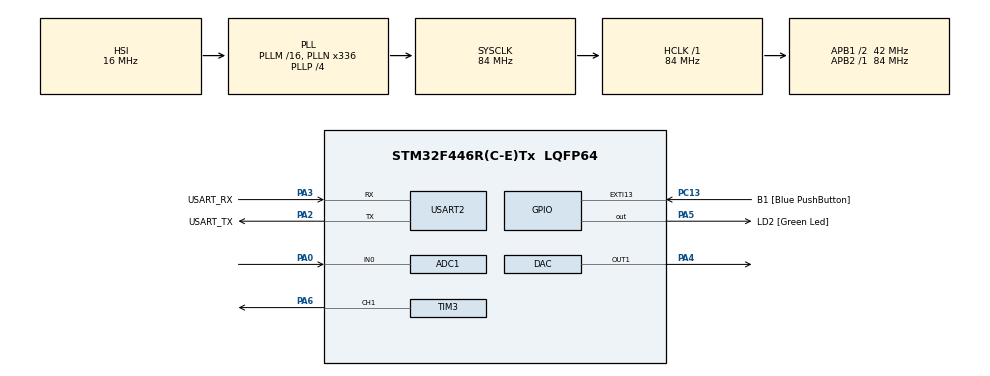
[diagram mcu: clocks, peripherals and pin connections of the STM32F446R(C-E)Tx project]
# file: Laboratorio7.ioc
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ADC1.Channel-0\#ChannelRegularConversion=ADC_CHANNEL_0
ADC1.NbrOfConversion=1
ADC1.NbrOfConversionFlag=1
ADC1.Rank-0\#ChannelRegularConversion=1
ADC1.SamplingTime-0\#ChannelRegularConversion=ADC_SAMPLETIME_3CYCLES
ADC1.master=1
Mcu.Family=STM32F4
Mcu.Name=STM32F446R(C-E)Tx
Mcu.Package=LQFP64
NVIC.PriorityGroup=NVIC_PRIORITYGROUP_0
NVIC.TIM6_DAC_IRQn=true\:0\:0\:false\:false\:true\:true\:true\:true
PA0-WKUP.Signal=ADCx_IN0
PA13.GPIO_Label=TMS
PA13.Signal=SYS_JTMS-SWDIO
PA14.GPIO_Label=TCK
PA14.Signal=SYS_JTCK-SWCLK
PA2.GPIO_Label=USART_TX
PA2.Mode=Asynchronous
PA2.Signal=USART2_TX
PA3.GPIO_Label=USART_RX
PA3.Mode=Asynchronous
PA3.Signal=USART2_RX
PA4.Signal=COMP_DAC1_group
PA5.GPIO_Label=LD2 [Green Led]
PA5.Signal=GPIO_Output
PA6.Signal=S_TIM3_CH1
PB3.GPIO_Label=SWO
PB3.Signal=SYS_JTDO-SWO
PC13.GPIO_Label=B1 [Blue PushButton]
PC13.GPIO_ModeDefaultEXTI=GPIO_MODE_IT_FALLING
PC13.Signal=GPXTI13
PC14-OSC32_IN.Signal=RCC_OSC32_IN
PC15-OSC32_OUT.Signal=RCC_OSC32_OUT
PH0-OSC_IN.Signal=RCC_OSC_IN
PH1-OSC_OUT.Signal=RCC_OSC_OUT
ProjectManager.HeapSize=0x200
ProjectManager.StackSize=0x400
ProjectManager.TargetToolchain=STM32CubeIDE
RCC.AHBFreq_Value=84000000
RCC.APB1CLKDivider=RCC_HCLK_DIV2
RCC.APB1Freq_Value=42000000
RCC.APB1TimFreq_Value=84000000
RCC.APB2Freq_Value=84000000
RCC.APB2TimFreq_Value=84000000
RCC.CortexFreq_Value=84000000
RCC.FLatency-AdvancedSettings=FLASH_LATENCY_2
RCC.HCLKFreq_Value=84000000
RCC.HSE_VALUE=8000000
RCC.HSI_VALUE=16000000
RCC.LSE_VALUE=32768
RCC.PLLN=336
RCC.PLLP=RCC_PLLP_DIV4
RCC.SYSCLKFreq_VALUE=84000000
RCC.SYSCLKSource=RCC_SYSCLKSOURCE_PLLCLK
RCC.USBFreq_Value=168000000
RCC.VCOOutputFreq_Value=336000000
SH.ADCx_IN0.0=ADC1_IN0,IN0
SH.COMP_DAC1_group.0=DAC_OUT1,DAC_OUT1
SH.S_TIM3_CH1.0=TIM3_CH1,PWM Generation1 CH1
TIM3.Channel-PWM\ Generation1\ CH1=TIM_CHANNEL_1
TIM3.Period=255
TIM3.Prescaler=9
TIM3.Pulse-PWM\ Generation1\ CH1=128
TIM6.Period=124
TIM6.Prescaler=83
TIM6.TIM_MasterOutputTrigger=TIM_TRGO_UPDATE
USART2.VirtualMode=VM_ASYNC
VP_TIM6_VS_ClockSourceINT.Mode=Enable_Timer
board=NUCLEO-F446RE

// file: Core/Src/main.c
/* USER CODE BEGIN Header */
/**
  ******************************************************************************
  * @file           : main.c
  * @brief          : Main program body
  ******************************************************************************
  */
/* USER CODE END Header */

#include "main.h"

/* USER CODE BEGIN Includes */
#include "audio_vf_pwm.h"
#include <string.h>
/* USER CODE END Includes */

/* USER CODE BEGIN PD */

#define NOTE_F4   349
#define NOTE_GS4  415
#define NOTE_A4   440

#define NOTE_C5   523
#define NOTE_E5   659
#define NOTE_F5   698
#define NOTE_GS5  831
#define NOTE_A5   880

#define REST      0

#define DAC_SAMPLE_RATE 8000U

/* USER CODE END PD */

ADC_HandleTypeDef hadc1;

DAC_HandleTypeDef hdac;

TIM_HandleTypeDef htim3;
TIM_HandleTypeDef htim6;

UART_HandleTypeDef huart2;

/* USER CODE BEGIN PV */

volatile uint32_t audio_index = 0;
volatile uint8_t audio_playing = 0;
volatile uint8_t audio_finished = 0;

volatile uint8_t dac_playing = 0;
volatile uint32_t dac_phase_acc = 0;
volatile uint32_t dac_phase_step = 0;

const uint16_t sine_lut[64] =
{
    2048, 2248, 2447, 2642, 2831, 3013, 3185, 3346,
    3495, 3630, 3750, 3853, 3939, 4007, 4056, 4085,
    4095, 4085, 4056, 4007, 3939, 3853, 3750, 3630,
    3495, 3346, 3185, 3013, 2831, 2642, 2447, 2248,
    2048, 1847, 1648, 1453, 1264, 1082, 910, 749,
    600, 465, 345, 242, 156, 88, 39, 10,
    0, 10, 39, 88, 156, 242, 345, 465,
    600, 749, 910, 1082, 1264, 1453, 1648, 1847
};

const uint16_t dac_notes[] =
{
    NOTE_A4, NOTE_A4, NOTE_A4, NOTE_F4, NOTE_C5,
    NOTE_A4, NOTE_F4, NOTE_C5, NOTE_A4, REST,

    NOTE_E5, NOTE_E5, NOTE_E5, NOTE_F5, NOTE_C5,
    NOTE_GS4, NOTE_F4, NOTE_C5, NOTE_A4, REST,

    NOTE_A5, NOTE_A4, NOTE_A4,
    NOTE_A5, NOTE_GS5, NOTE_A5
};

const uint16_t dac_durations[] =
{
    500, 500, 500, 350, 150,
    500, 350, 150, 650, 350,

    500, 500, 500, 350, 150,
    500, 350, 150, 650, 350,

    500, 250, 250,
    400, 300, 300
};

const uint16_t DAC_AUDIO_LENGTH =
    sizeof(dac_notes) / sizeof(dac_notes[0]);

/* USER CODE END PV */

void SystemClock_Config(void);
static void MX_GPIO_Init(void);
static void MX_TIM6_Init(void);
static void MX_USART2_UART_Init(void);
static void MX_ADC1_Init(void);
static void MX_TIM3_Init(void);
static void MX_DAC_Init(void);

/* USER CODE BEGIN PFP */

void uart_print(const char *text);
void print_menu(void);
void play_audio_pwm(void);
void play_audio_dac(void);
void dac_set_tone(uint32_t frequency);

/* USER CODE END PFP */

/* USER CODE BEGIN 0 */

void uart_print(const char *text)
{
    HAL_UART_Transmit(&huart2,
                      (uint8_t *)text,
                      strlen(text),
                      HAL_MAX_DELAY);
}

void print_menu(void)
{
    uart_print("\r\n============================\r\n");
    uart_print("    REPRODUCTOR DE AUDIO\r\n");
    uart_print("============================\r\n");
    uart_print("1. Reproducir Audio PWM\r\n");
    uart_print("2. Reproducir Audio DAC\r\n");
    uart_print("\r\nIngrese una opcion: ");
}

void play_audio_pwm(void)
{
    dac_playing = 0;

    HAL_TIM_Base_Stop_IT(&htim6);
    HAL_DAC_Stop(&hdac, DAC_CHANNEL_1);

    audio_index = 0;
    audio_finished = 0;
    audio_playing = 1;

    __HAL_TIM_SET_COMPARE(&htim3, TIM_CHANNEL_1, 128);

    __HAL_TIM_SET_COUNTER(&htim3, 0);
    __HAL_TIM_SET_COUNTER(&htim6, 0);

    if (HAL_TIM_PWM_Start(&htim3, TIM_CHANNEL_1) != HAL_OK)
    {
        Error_Handler();
    }

    if (HAL_TIM_Base_Start_IT(&htim6) != HAL_OK)
    {
        Error_Handler();
    }

    while (audio_finished == 0)
    {
    }

    HAL_TIM_Base_Stop_IT(&htim6);

    audio_playing = 0;

    __HAL_TIM_SET_COMPARE(&htim3, TIM_CHANNEL_1, 0);

    HAL_TIM_PWM_Stop(&htim3, TIM_CHANNEL_1);
}

void dac_set_tone(uint32_t frequency)
{
    if (frequency == REST)
    {
        dac_phase_step = 0;

        HAL_DAC_SetValue(&hdac,
                         DAC_CHANNEL_1,
                         DAC_ALIGN_12B_R,
                         2048);
    }
    else
    {
        dac_phase_step =
            (uint32_t)(((uint64_t)frequency *
                        64ULL *
                        65536ULL) /
                       DAC_SAMPLE_RATE);
    }
}

void play_audio_dac(void)
{
    audio_playing = 0;

    HAL_TIM_Base_Stop_IT(&htim6);

    __HAL_TIM_SET_COMPARE(&htim3,
                          TIM_CHANNEL_1,
                          0);

    HAL_TIM_PWM_Stop(&htim3,
                     TIM_CHANNEL_1);

    dac_phase_acc = 0;
    dac_phase_step = 0;
    dac_playing = 1;

    if (HAL_DAC_Start(&hdac,
                      DAC_CHANNEL_1) != HAL_OK)
    {
        Error_Handler();
    }

    HAL_DAC_SetValue(&hdac,
                     DAC_CHANNEL_1,
                     DAC_ALIGN_12B_R,
                     2048);

    __HAL_TIM_SET_COUNTER(&htim6, 0);

    if (HAL_TIM_Base_Start_IT(&htim6) != HAL_OK)
    {
        Error_Handler();
    }

    for (uint16_t i = 0; i < DAC_AUDIO_LENGTH; i++)
    {
        dac_set_tone(dac_notes[i]);

        HAL_Delay(
            (uint32_t)dac_durations[i] * 85U / 100U
        );

        dac_set_tone(REST);

        HAL_Delay(
            (uint32_t)dac_durations[i] * 15U / 100U
        );
    }

    dac_set_tone(REST);

    dac_playing = 0;

    HAL_TIM_Base_Stop_IT(&htim6);

    HAL_DAC_SetValue(&hdac,
                     DAC_CHANNEL_1,
                     DAC_ALIGN_12B_R,
                     0);

    HAL_DAC_Stop(&hdac,
                 DAC_CHANNEL_1);
}

void HAL_TIM_PeriodElapsedCallback(TIM_HandleTypeDef *htim)
{
    if (htim->Instance == TIM6)
    {
        if (audio_playing == 1)
        {
            if (audio_index < AUDIO_VF_PWM_LENGTH)
            {
                __HAL_TIM_SET_COMPARE(&htim3,
                                      TIM_CHANNEL_1,
                                      audio_vf_pwm[audio_index]);

                audio_index++;
            }
            else
            {
                __HAL_TIM_SET_COMPARE(&htim3,
                                      TIM_CHANNEL_1,
                                      0);

                audio_finished = 1;
            }
        }
        else if (dac_playing == 1)
        {
            if (dac_phase_step > 0)
            {
                uint8_t lut_index;

                dac_phase_acc += dac_phase_step;

                lut_index =
                    (dac_phase_acc >> 16) & 0x3F;

                HAL_DAC_SetValue(&hdac,
                                 DAC_CHANNEL_1,
                                 DAC_ALIGN_12B_R,
                                 sine_lut[lut_index]);
            }
        }
    }
}

/* USER CODE END 0 */

int main(void)
{
  /* USER CODE BEGIN 1 */

    uint8_t rx;

  /* USER CODE END 1 */

  /* MCU Configuration--------------------------------------------------------*/

  HAL_Init();

  SystemClock_Config();

  MX_GPIO_Init();
  MX_TIM6_Init();
  MX_USART2_UART_Init();
  MX_ADC1_Init();
  MX_TIM3_Init();
  MX_DAC_Init();

  /* USER CODE BEGIN 2 */

    print_menu();

  /* USER CODE END 2 */

  /* Infinite loop */
  /* USER CODE BEGIN WHILE */

  while (1)
  {
      if (HAL_UART_Receive(&huart2,
                           &rx,
                           1,
                           HAL_MAX_DELAY) == HAL_OK)
      {
          if (rx == '1')
          {
              uart_print("\r\nReproduciendo Audio PWM...\r\n");

              play_audio_pwm();

              uart_print("\r\nReproduccion terminada.\r\n");

              print_menu();
          }
          else if (rx == '2')
          {
              uart_print("\r\nReproduciendo Audio DAC...\r\n");

              play_audio_dac();

              uart_print("\r\nReproduccion terminada.\r\n");

              print_menu();
          }
          else if ((rx != '\r') && (rx != '\n'))
          {
              uart_print("\r\nOpcion invalida.\r\n");

              print_menu();
          }
      }

    /* USER CODE END WHILE */

  }
}

void SystemClock_Config(void)
{
  RCC_OscInitTypeDef RCC_OscInitStruct = {0};
  RCC_ClkInitTypeDef RCC_ClkInitStruct = {0};

  __HAL_RCC_PWR_CLK_ENABLE();

  __HAL_PWR_VOLTAGESCALING_CONFIG(
      PWR_REGULATOR_VOLTAGE_SCALE3);

  RCC_OscInitStruct.OscillatorType =
      RCC_OSCILLATORTYPE_HSI;

  RCC_OscInitStruct.HSIState =
      RCC_HSI_ON;

  RCC_OscInitStruct.HSICalibrationValue =
      RCC_HSICALIBRATION_DEFAULT;

  RCC_OscInitStruct.PLL.PLLState =
      RCC_PLL_ON;

  RCC_OscInitStruct.PLL.PLLSource =
      RCC_PLLSOURCE_HSI;

  RCC_OscInitStruct.PLL.PLLM = 16;
  RCC_OscInitStruct.PLL.PLLN = 336;
  RCC_OscInitStruct.PLL.PLLP = RCC_PLLP_DIV4;
  RCC_OscInitStruct.PLL.PLLQ = 2;
  RCC_OscInitStruct.PLL.PLLR = 2;

  if (HAL_RCC_OscConfig(&RCC_OscInitStruct) != HAL_OK)
  {
      Error_Handler();
  }

  RCC_ClkInitStruct.ClockType =
      RCC_CLOCKTYPE_HCLK |
      RCC_CLOCKTYPE_SYSCLK |
      RCC_CLOCKTYPE_PCLK1 |
      RCC_CLOCKTYPE_PCLK2;

  RCC_ClkInitStruct.SYSCLKSource =
      RCC_SYSCLKSOURCE_PLLCLK;

  RCC_ClkInitStruct.AHBCLKDivider =
      RCC_SYSCLK_DIV1;

  RCC_ClkInitStruct.APB1CLKDivider =
      RCC_HCLK_DIV2;

  RCC_ClkInitStruct.APB2CLKDivider =
      RCC_HCLK_DIV1;

  if (HAL_RCC_ClockConfig(&RCC_ClkInitStruct,
                          FLASH_LATENCY_2) != HAL_OK)
  {
      Error_Handler();
  }
}

static void MX_ADC1_Init(void)
{
  ADC_ChannelConfTypeDef sConfig = {0};

  hadc1.Instance = ADC1;

  hadc1.Init.ClockPrescaler =
      ADC_CLOCK_SYNC_PCLK_DIV4;

  hadc1.Init.Resolution =
      ADC_RESOLUTION_12B;

  hadc1.Init.ScanConvMode =
      DISABLE;

  hadc1.Init.ContinuousConvMode =
      DISABLE;

  hadc1.Init.DiscontinuousConvMode =
      DISABLE;

  hadc1.Init.ExternalTrigConvEdge =
      ADC_EXTERNALTRIGCONVEDGE_NONE;

  hadc1.Init.ExternalTrigConv =
      ADC_SOFTWARE_START;

  hadc1.Init.DataAlign =
      ADC_DATAALIGN_RIGHT;

  hadc1.Init.NbrOfConversion = 1;

  hadc1.Init.DMAContinuousRequests =
      DISABLE;

  hadc1.Init.EOCSelection =
      ADC_EOC_SINGLE_CONV;

  if (HAL_ADC_Init(&hadc1) != HAL_OK)
  {
      Error_Handler();
  }

  sConfig.Channel =
      ADC_CHANNEL_0;

  sConfig.Rank = 1;

  sConfig.SamplingTime =
      ADC_SAMPLETIME_3CYCLES;

  if (HAL_ADC_ConfigChannel(&hadc1,
                            &sConfig) != HAL_OK)
  {
      Error_Handler();
  }
}

static void MX_DAC_Init(void)
{
  DAC_ChannelConfTypeDef sConfig = {0};

  hdac.Instance = DAC;

  if (HAL_DAC_Init(&hdac) != HAL_OK)
  {
      Error_Handler();
  }

  sConfig.DAC_Trigger =
      DAC_TRIGGER_NONE;

  sConfig.DAC_OutputBuffer =
      DAC_OUTPUTBUFFER_ENABLE;

  if (HAL_DAC_ConfigChannel(&hdac,
                            &sConfig,
                            DAC_CHANNEL_1) != HAL_OK)
  {
      Error_Handler();
  }
}

static void MX_TIM3_Init(void)
{
  TIM_MasterConfigTypeDef sMasterConfig = {0};
  TIM_OC_InitTypeDef sConfigOC = {0};

  htim3.Instance = TIM3;

  htim3.Init.Prescaler = 9;

  htim3.Init.CounterMode =
      TIM_COUNTERMODE_UP;

  htim3.Init.Period = 255;

  htim3.Init.ClockDivision =
      TIM_CLOCKDIVISION_DIV1;

  htim3.Init.AutoReloadPreload =
      TIM_AUTORELOAD_PRELOAD_DISABLE;

  if (HAL_TIM_PWM_Init(&htim3) != HAL_OK)
  {
      Error_Handler();
  }

  sMasterConfig.MasterOutputTrigger =
      TIM_TRGO_RESET;

  sMasterConfig.MasterSlaveMode =
      TIM_MASTERSLAVEMODE_DISABLE;

  if (HAL_TIMEx_MasterConfigSynchronization(
          &htim3,
          &sMasterConfig) != HAL_OK)
  {
      Error_Handler();
  }

  sConfigOC.OCMode =
      TIM_OCMODE_PWM1;

  sConfigOC.Pulse = 128;

  sConfigOC.OCPolarity =
      TIM_OCPOLARITY_HIGH;

  sConfigOC.OCFastMode =
      TIM_OCFAST_DISABLE;

  if (HAL_TIM_PWM_ConfigChannel(&htim3,
                                &sConfigOC,
                                TIM_CHANNEL_1) != HAL_OK)
  {
      Error_Handler();
  }

  HAL_TIM_MspPostInit(&htim3);
}

static void MX_TIM6_Init(void)
{
  TIM_MasterConfigTypeDef sMasterConfig = {0};

  htim6.Instance = TIM6;

  htim6.Init.Prescaler = 83;

  htim6.Init.CounterMode =
      TIM_COUNTERMODE_UP;

  htim6.Init.Period = 124;

  htim6.Init.AutoReloadPreload =
      TIM_AUTORELOAD_PRELOAD_DISABLE;

  if (HAL_TIM_Base_Init(&htim6) != HAL_OK)
  {
      Error_Handler();
  }

  sMasterConfig.MasterOutputTrigger =
      TIM_TRGO_UPDATE;

  sMasterConfig.MasterSlaveMode =
      TIM_MASTERSLAVEMODE_DISABLE;

  if (HAL_TIMEx_MasterConfigSynchronization(
          &htim6,
          &sMasterConfig) != HAL_OK)
  {
      Error_Handler();
  }
}

static void MX_USART2_UART_Init(void)
{
  huart2.Instance = USART2;

  huart2.Init.BaudRate = 115200;

  huart2.Init.WordLength =
      UART_WORDLENGTH_8B;

  huart2.Init.StopBits =
      UART_STOPBITS_1;

  huart2.Init.Parity =
      UART_PARITY_NONE;

  huart2.Init.Mode =
      UART_MODE_TX_RX;

  huart2.Init.HwFlowCtl =
      UART_HWCONTROL_NONE;

  huart2.Init.OverSampling =
      UART_OVERSAMPLING_16;

  if (HAL_UART_Init(&huart2) != HAL_OK)
  {
      Error_Handler();
  }
}

static void MX_GPIO_Init(void)
{
  GPIO_InitTypeDef GPIO_InitStruct = {0};

  __HAL_RCC_GPIOC_CLK_ENABLE();
  __HAL_RCC_GPIOH_CLK_ENABLE();
  __HAL_RCC_GPIOA_CLK_ENABLE();
  __HAL_RCC_GPIOB_CLK_ENABLE();

  HAL_GPIO_WritePin(LD2_GPIO_Port,
                    LD2_Pin,
                    GPIO_PIN_RESET);

  GPIO_InitStruct.Pin =
      B1_Pin;

  GPIO_InitStruct.Mode =
      GPIO_MODE_IT_FALLING;

  GPIO_InitStruct.Pull =
      GPIO_NOPULL;

  HAL_GPIO_Init(B1_GPIO_Port,
                &GPIO_InitStruct);

  GPIO_InitStruct.Pin =
      LD2_Pin;

  GPIO_InitStruct.Mode =
      GPIO_MODE_OUTPUT_PP;

  GPIO_InitStruct.Pull =
      GPIO_NOPULL;

  GPIO_InitStruct.Speed =
      GPIO_SPEED_FREQ_LOW;

  HAL_GPIO_Init(LD2_GPIO_Port,
                &GPIO_InitStruct);
}

void Error_Handler(void)
{
  __disable_irq();

  while (1)
  {
  }
}
